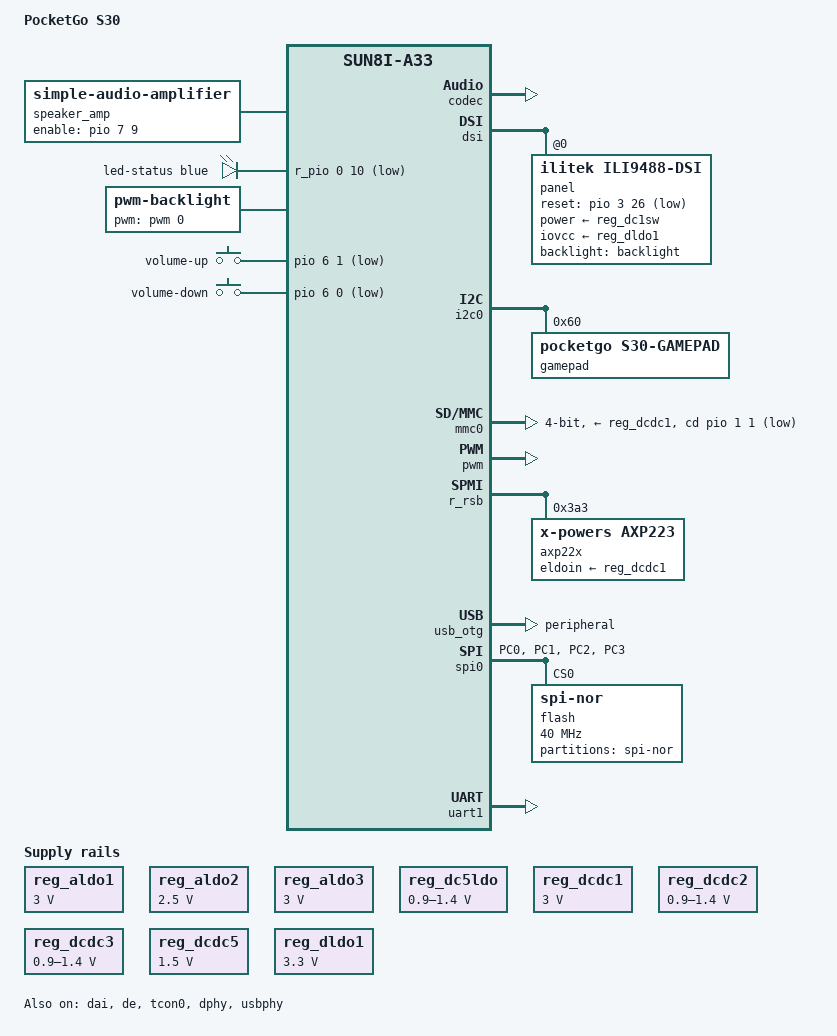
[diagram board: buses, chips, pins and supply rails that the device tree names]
// SPDX-License-Identifier: (GPL-2.0+ OR MIT)
/*
 * PocketGo S30 (Zkswe A33 handheld).
 *
 * Hardware details come from the stock script.fex and the stock 3.4 kernel.
 */

/dts-v1/;
#include "sun8i-a33.dtsi"

#include <dt-bindings/gpio/gpio.h>
#include <dt-bindings/input/input.h>
#include <dt-bindings/leds/common.h>
#include <dt-bindings/pwm/pwm.h>

/ {
	model = "PocketGo S30";
	compatible = "pocketgo,s30", "allwinner,sun8i-a33";

	aliases {
		serial0 = &uart1;
	};

	chosen {
		stdout-path = "serial0:115200n8";
	};

	/*
	 * U-Boot boots Linux non-secure (PSCI, ARMV7_VIRT off) and sets CNTFRQ
	 * and a zero CNTVOFF on every core, so the timer registers are
	 * configured: the kernel then uses the virtual timer, whose counter
	 * userspace reads through the vDSO (with the secure physical timer
	 * clock_gettime was a ~730 ns system call).
	 */
	timer {
		/delete-property/ arm,cpu-registers-not-fw-configured;
	};

	/*
	 * Speaker amp, fed from the codec's headphone outputs like on stock
	 * (fex headphone_direct_used, pa_single; stock mixer: "External
	 * Speaker Switch" on, lineout volume 0). fex audio_pa_ctrl = PH9,
	 * high while stock plays.
	 */
	speaker_amp: audio-amplifier {
		compatible = "simple-audio-amplifier";
		enable-gpios = <&pio 7 9 GPIO_ACTIVE_HIGH>;
		sound-name-prefix = "Speaker Amp";
	};

	/*
	 * Blue status LED on PL10 (stock firmware drives it low while running;
	 * not in the fex). Switched on by userspace once boot has finished.
	 */
	/*
	 * "reboot fel" (s30-fel): boot0 enters FEL once when RTC general-purpose
	 * register 2 holds this magic (stock firmware's FEL flag).
	 */
	reboot-mode {
		compatible = "nvmem-reboot-mode";
		nvmem-cells = <&fel_flag>;
		nvmem-cell-names = "reboot-mode";
		mode-fel = <0x5aa5a55a>;
	};

	leds {
		compatible = "gpio-leds";

		led-status {
			function = LED_FUNCTION_STATUS;
			color = <LED_COLOR_ID_BLUE>;
			gpios = <&r_pio 0 10 GPIO_ACTIVE_LOW>;
			default-state = "off";
		};
	};

	/*
	 * fex [pwm0_para] + lcd_pwm_freq 50000 (20000 ns), lcd_pwm_pol 0. No
	 * brightness-levels: the driver's own CIE 1931 table (perceptually even
	 * steps), 1334 levels for this period; default the middle one.
	 */
	backlight: backlight {
		compatible = "pwm-backlight";
		pwms = <&pwm 0 20000 0>;
	};

	/*
	 * fex [gpkey_para] keys, active low. Mapped by probing the pins on stock
	 * firmware (Nintendo layout: A right, B bottom). Gamepad buttons are in
	 * the gamepad node on &i2c0; fex gpkey18-21 (PB5, PB4, PB3, PB2) read as
	 * pressed at rest on stock and match no button, so they are left out.
	 */
	gpio-keys {
		compatible = "gpio-keys-polled";
		poll-interval = <20>;

		key-volume-up { label = "volume-up"; gpios = <&pio 6 1 GPIO_ACTIVE_LOW>; linux,code = <KEY_VOLUMEUP>; }; /* PG1 */
		key-volume-down { label = "volume-down"; gpios = <&pio 6 0 GPIO_ACTIVE_LOW>; linux,code = <KEY_VOLUMEDOWN>; }; /* PG0 */
	};
};

&codec {
	status = "okay";
};

/*
 * The jack detect contact (PL5, fex audio_linein_detect; low with a plug in)
 * only reads high while the HP amp is on. The codec owns the jack: the mono
 * speaker amp is bridged across HPL/HPR, and the jack has L/R swapped.
 */
&codec_analog {
	allwinner,headphone-amp-always-on;
	allwinner,bridged-mono-speaker;
	allwinner,headphone-lr-swapped;
	hp-det-gpios = <&r_pio 0 5 GPIO_ACTIVE_LOW>;
};

&dai {
	status = "okay";
};

&de {
	status = "okay";
};

&tcon0 {
	/*
	 * DSI needs tcon0 clocked from PLL-MIPI. From pll-video at the same rate
	 * LP commands work but HS video never starts (found in U-Boot bring-up).
	 */
	assigned-clocks = <&ccu CLK_LCD_CH0>;
	assigned-clock-parents = <&ccu CLK_PLL_MIPI>;
	status = "okay";
};

&dphy {
	status = "okay";
};

&dsi {
	vcc-dsi-supply = <&reg_dcdc1>;
	status = "okay";

	panel@0 {
		compatible = "ilitek,ili9488-dsi";
		reg = <0>;
		/* fex lcd_power = axp22_dc1sw; stock panel driver also enables dldo1 @ 3.3 V */
		power-supply = <&reg_dc1sw>;
		iovcc-supply = <&reg_dldo1>;
		/* fex lcd_gpio_0 = PD26 */
		reset-gpios = <&pio 3 26 GPIO_ACTIVE_LOW>;
		backlight = <&backlight>;
		/* Native 320x480 portrait panel mounted landscape; flip to 90 if upside down */
		rotation = <270>;
	};
};

/* fex [twi0] on PH2/PH3 */
&i2c0 {
	status = "okay";

	/*
	 * Analog stick MCU (stock driver "mcu_ts"; a 4 byte read returns X, ~X,
	 * Y, ~Y), reported together with the gamepad buttons as one device.
	 */
	gamepad@60 {
		compatible = "pocketgo,s30-gamepad";
		reg = <0x60>;
		poll-interval = <10>;

		button-up { label = "up"; gpios = <&pio 6 9 GPIO_ACTIVE_LOW>; linux,code = <BTN_DPAD_UP>; }; /* PG9 */
		button-down { label = "down"; gpios = <&pio 6 8 GPIO_ACTIVE_LOW>; linux,code = <BTN_DPAD_DOWN>; }; /* PG8 */
		button-left { label = "left"; gpios = <&r_pio 0 8 GPIO_ACTIVE_LOW>; linux,code = <BTN_DPAD_LEFT>; }; /* PL8 */
		button-right { label = "right"; gpios = <&r_pio 0 9 GPIO_ACTIVE_LOW>; linux,code = <BTN_DPAD_RIGHT>; }; /* PL9 */
		button-b { label = "b"; gpios = <&pio 6 10 GPIO_ACTIVE_LOW>; linux,code = <BTN_SOUTH>; }; /* PG10 */
		button-y { label = "y"; gpios = <&pio 6 11 GPIO_ACTIVE_LOW>; linux,code = <BTN_WEST>; }; /* PG11 */
		button-a { label = "a"; gpios = <&pio 6 12 GPIO_ACTIVE_LOW>; linux,code = <BTN_EAST>; }; /* PG12 */
		button-x { label = "x"; gpios = <&pio 6 13 GPIO_ACTIVE_LOW>; linux,code = <BTN_NORTH>; }; /* PG13 */
		button-select { label = "select"; gpios = <&r_pio 0 11 GPIO_ACTIVE_LOW>; linux,code = <BTN_SELECT>; }; /* PL11 */
		button-start { label = "start"; gpios = <&pio 6 4 GPIO_ACTIVE_LOW>; linux,code = <BTN_START>; }; /* PG4 */
		button-thumbl { label = "thumbl"; gpios = <&pio 6 5 GPIO_ACTIVE_LOW>; linux,code = <BTN_THUMBL>; }; /* PG5, probably stick click; no response on the test unit (neither GPIO nor MCU) */
		button-l2 { label = "l2"; gpios = <&pio 1 7 GPIO_ACTIVE_LOW>; linux,code = <BTN_TL2>; }; /* PB7 */
		button-r1 { label = "r1"; gpios = <&pio 6 3 GPIO_ACTIVE_LOW>; linux,code = <BTN_TR>; }; /* PG3 */
		button-l1 { label = "l1"; gpios = <&pio 1 6 GPIO_ACTIVE_LOW>; linux,code = <BTN_TL>; }; /* PB6 */
		button-r2 { label = "r2"; gpios = <&pio 6 2 GPIO_ACTIVE_LOW>; linux,code = <BTN_TR2>; }; /* PG2 */
	};
};

&mmc0 {
	pinctrl-names = "default";
	pinctrl-0 = <&mmc0_pins>;
	vmmc-supply = <&reg_dcdc1>;
	bus-width = <4>;
	/* fex sdc_det = PB1 */
	cd-gpios = <&pio 1 1 GPIO_ACTIVE_LOW>;
	status = "okay";
};

&pwm {
	pinctrl-names = "default";
	pinctrl-0 = <&pwm0_pin>;
	status = "okay";
};

&r_rsb {
	status = "okay";

	axp22x: pmic@3a3 {
		compatible = "x-powers,axp223";
		reg = <0x3a3>;
		interrupt-parent = <&r_intc>;
		interrupts = <GIC_SPI 32 IRQ_TYPE_LEVEL_LOW>;
		eldoin-supply = <&reg_dcdc1>;
		/* poweroff powers the device off through the AXP */
		x-powers,system-power-controller;
	};
};

#include "axp223.dtsi"

&battery_power_supply {
	status = "okay";
};

&ac_power_supply {
	status = "okay";
};

&usb_power_supply {
	status = "okay";
};

/* Peripheral only for now: USB serial gadget shell for bring-up */
&usb_otg {
	dr_mode = "peripheral";
	status = "okay";
};

&usbphy {
	/*
	 * No usb0_vbus_power-supply: with it the PHY reported no VBUS (the
	 * AXP USB supply's "present" read 0) and the gadget never attached.
	 * Without it the PHY assumes VBUS is present.
	 */
	status = "okay";
};

/* Voltages from fex [power_sply] */
&reg_aldo1 {
	regulator-always-on;
	regulator-min-microvolt = <3000000>;
	regulator-max-microvolt = <3000000>;
	regulator-name = "vcc-io";
};

&reg_aldo2 {
	regulator-always-on;
	regulator-min-microvolt = <2500000>;
	regulator-max-microvolt = <2500000>;
	regulator-name = "vdd-dll";
};

&reg_aldo3 {
	regulator-always-on;
	regulator-min-microvolt = <3000000>;
	regulator-max-microvolt = <3000000>;
	regulator-name = "vcc-pll-avcc";
};

&reg_dc1sw {
	regulator-name = "vcc-lcd";
};

&reg_dc5ldo {
	regulator-always-on;
	regulator-min-microvolt = <900000>;
	regulator-max-microvolt = <1400000>;
	regulator-name = "vdd-cpus";
};

&reg_dcdc1 {
	regulator-always-on;
	regulator-min-microvolt = <3000000>;
	regulator-max-microvolt = <3000000>;
	regulator-name = "vcc-3v0";
};

&reg_dcdc2 {
	regulator-always-on;
	regulator-min-microvolt = <900000>;
	regulator-max-microvolt = <1400000>;
	regulator-name = "vdd-sys";
};

&reg_dcdc3 {
	regulator-always-on;
	regulator-min-microvolt = <900000>;
	regulator-max-microvolt = <1400000>;
	regulator-name = "vdd-cpu";
};

&reg_dcdc5 {
	regulator-always-on;
	regulator-min-microvolt = <1500000>;
	regulator-max-microvolt = <1500000>;
	regulator-name = "vcc-dram";
};

&reg_dldo1 {
	regulator-min-microvolt = <3300000>;
	regulator-max-microvolt = <3300000>;
	regulator-name = "vcc-lcd-io";
};

&reg_rtc_ldo {
	regulator-name = "vcc-rtc";
};

/* fex uart_debug_port = 1 on PG6/PG7 */
&sound {
	simple-audio-card,aux-devs = <&codec_analog>, <&speaker_amp>;
	/* simple-audio-card names the headphone jack pin "Headphones" */
	simple-audio-card,widgets = "Headphone", "Headphones",
				    "Speaker", "Speaker";
	simple-audio-card,routing =
		"Left DAC", "DACL",
		"Right DAC", "DACR",
		/* Capless outputs: HP is referenced to HPCOM (stock: HPCOM on) */
		"Headphones", "HP",
		"Headphones", "HPCOM",
		"Speaker Amp INL", "HP",
		"Speaker Amp INR", "HP",
		"Speaker Amp INL", "HPCOM",
		"Speaker", "Speaker Amp OUTL",
		"Speaker", "Speaker Amp OUTR";
	simple-audio-card,pin-switches = "Speaker";
	status = "okay";
};

/*
 * Boot flash: Zbit ZB25VQ64 (8 MiB SPI NOR, JEDEC 5e 40 17) on SPI0,
 * PC0-PC3. Mainline's A23/A33 dtsi has no SPI nodes (A33 manual: 0x01c68000,
 * IRQ 97 = GIC SPI 65). The FIFOs are 64 bytes like the H3's: with the A31
 * compatible (128 bytes) transfers over 64 bytes time out. /dev/mtd0 is the
 * whole chip, writable: s30-flash writes it (stock image backed up in
 * firmware-backup/spi-nor-stock.bin).
 */
&pio {
	spi0_pc_pins: spi0-pc-pins {
		pins = "PC0", "PC1", "PC2", "PC3";
		function = "spi0";
	};
};

&{/soc} {
	spi0: spi@1c68000 {
		compatible = "allwinner,sun8i-h3-spi";
		reg = <0x01c68000 0x1000>;
		interrupts = <GIC_SPI 65 IRQ_TYPE_LEVEL_HIGH>;
		clocks = <&ccu CLK_BUS_SPI0>, <&ccu CLK_SPI0>;
		clock-names = "ahb", "mod";
		resets = <&ccu RST_BUS_SPI0>;
		pinctrl-names = "default";
		pinctrl-0 = <&spi0_pc_pins>;
		#address-cells = <1>;
		#size-cells = <0>;

		flash@0 {
			compatible = "jedec,spi-nor";
			reg = <0>;
			spi-max-frequency = <40000000>;

			partitions {
				compatible = "fixed-partitions";
				#address-cells = <1>;
				#size-cells = <1>;

				partition@0 {
					label = "spi-nor";
					reg = <0x0 0x800000>;
				};
			};
		};
	};
};

&uart1 {
	pinctrl-names = "default";
	pinctrl-0 = <&uart1_pg_pins>;
	status = "okay";
};

&rtc {
	nvmem-layout {
		compatible = "fixed-layout";
		#address-cells = <1>;
		#size-cells = <1>;

		/* General-purpose data register 2 (0x01f00108) */
		fel_flag: fel-flag@8 {
			reg = <0x8 0x4>;
		};
	};
};
